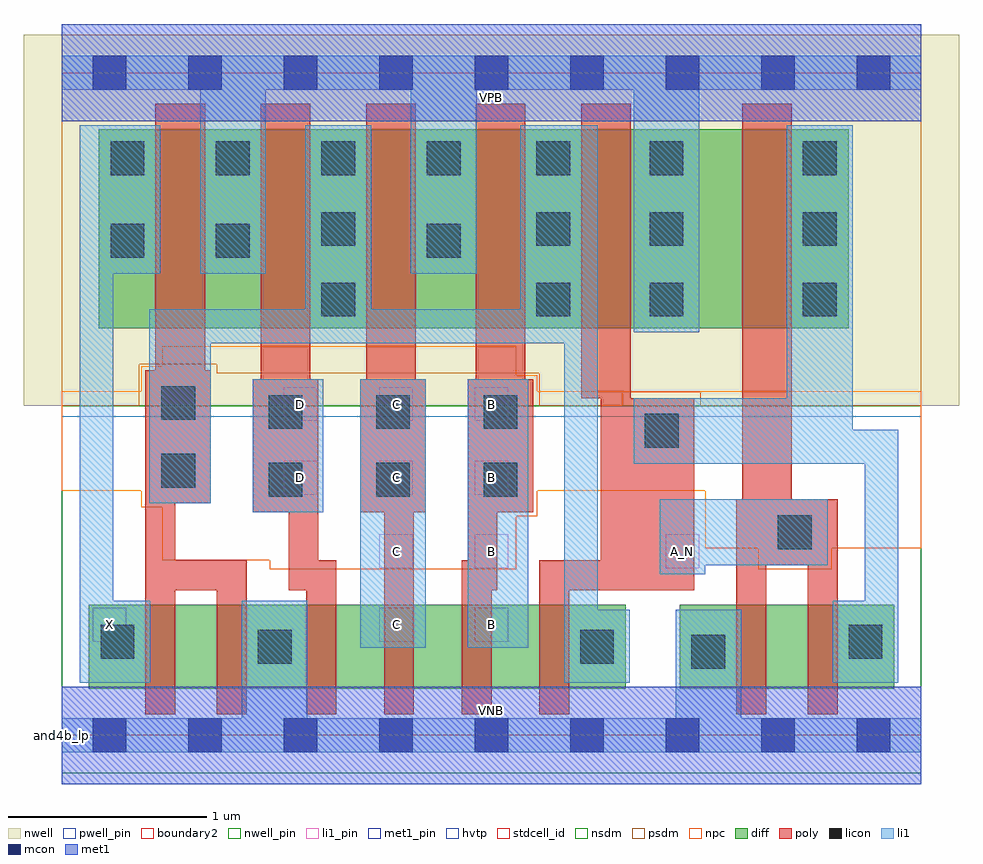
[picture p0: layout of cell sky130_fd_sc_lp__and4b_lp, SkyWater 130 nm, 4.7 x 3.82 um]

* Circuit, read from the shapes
.subckt sky130_fd_sc_lp__and4b_lp A_N B C D VGND VNB VPB VPWR X
XM1 n1 n2 X VNB sky130_fd_pr__nfet_01v8 w=0.42 l=0.15
XM2 VGND n2 n1 VNB sky130_fd_pr__nfet_01v8 w=0.42 l=0.15
XM3 n3 D VGND VNB sky130_fd_pr__nfet_01v8 w=0.42 l=0.15
XM4 n4 C n3 VNB sky130_fd_pr__nfet_01v8 w=0.42 l=0.15
XM5 n5 B n4 VNB sky130_fd_pr__nfet_01v8 w=0.42 l=0.15
XM6 n2 n6 n5 VNB sky130_fd_pr__nfet_01v8 w=0.42 l=0.15
XM7 n7 A_N VGND VNB sky130_fd_pr__nfet_01v8 w=0.42 l=0.15
XM8 n6 A_N n7 VNB sky130_fd_pr__nfet_01v8 w=0.42 l=0.15
XM9 VPWR n2 X VPB sky130_fd_pr__pfet_01v8_hvt w=1 l=0.25
XM10 n2 D VPWR VPB sky130_fd_pr__pfet_01v8_hvt w=1 l=0.25
XM11 VPWR C n2 VPB sky130_fd_pr__pfet_01v8_hvt w=1 l=0.25
XM12 n2 B VPWR VPB sky130_fd_pr__pfet_01v8_hvt w=1 l=0.25
XM13 VPWR n6 n2 VPB sky130_fd_pr__pfet_01v8_hvt w=1 l=0.25
XM14 n6 A_N VPWR VPB sky130_fd_pr__pfet_01v8_hvt w=1 l=0.25
.ends

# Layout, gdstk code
import gdstk
lib = gdstk.Library(unit=1e-6, precision=1e-09)
def R(c, l, rs):  # rectangles x0, y0, x1, y1
    for r in rs: c.add(gdstk.rectangle(r[:2], r[2:], *l))
def A(c, l, x, y, w, h, nx, ny, dx, dy):  # array of equal rectangles
    R(c, l, [(x+i*dx, y+j*dy, x+i*dx+w, y+j*dy+h) for i in range(nx) for j in range(ny)])
def P(c, l, *ps):  # polygons
    for p in ps: c.add(gdstk.Polygon(p, *l))
nwell_pin = (64, 16)
nwell = (64, 20)
diff = (65, 20)
poly = (66, 20)
licon = (66, 44)
li1_pin = (67, 16)
li1 = (67, 20)
mcon = (67, 44)
met1_pin = (68, 16)
met1 = (68, 20)
hvtp = (78, 44)
stdcell_id = (81, 4)
nsdm = (93, 44)
psdm = (94, 20)
npc = (95, 20)
pwell_pin = (122, 16)
boundary2 = (236, 0)

sky130_fd_sc_lp__and4b_l = lib.new_cell('sky130_fd_sc_lp__and4b_lp')
R(sky130_fd_sc_lp__and4b_l, nwell_pin, [(0,3.085,4.32,3.33)])
R(sky130_fd_sc_lp__and4b_l, nwell, [(-0.19,1.655,4.51,3.52)])
R(sky130_fd_sc_lp__and4b_l, diff, [(0.135,0.235,2.835,0.655), (3.105,0.235,4.185,0.655), (0.185,2.045,3.955,3.045)])
P(sky130_fd_sc_lp__and4b_l, poly, [(0.93,0.88),(0.57,0.88),(0.57,1.165),(0.75,1.165),(0.75,1.835),(0.72,1.835),(0.72,3.175),(0.47,3.175),(0.47,1.835),(0.42,1.835),(0.42,0.105),(0.57,0.105),(0.57,0.73),(0.78,0.73),(0.78,0.105),(0.93,0.105)],
  [(1.38,0.88),(1.29,0.88),(1.29,1.79),(1.25,1.79),(1.25,3.175),(1,3.175),(1,1.79),(0.96,1.79),(0.96,1.12),(1.14,1.12),(1.14,0.73),(1.23,0.73),(1.23,0.105),(1.38,0.105)],
  [(1.83,1.79),(1.78,1.79),(1.78,3.175),(1.53,3.175),(1.53,1.79),(1.5,1.79),(1.5,1.12),(1.62,1.12),(1.62,0.105),(1.77,0.105),(1.77,1.12),(1.83,1.12)],
  [(2.37,1.79),(2.33,1.79),(2.33,3.175),(2.08,3.175),(2.08,1.79),(2.04,1.79),(2.04,0.88),(2.01,0.88),(2.01,0.105),(2.16,0.105),(2.16,0.73),(2.19,0.73),(2.19,1.12),(2.37,1.12)],
  [(3.18,1.695),(2.86,1.695),(2.86,3.175),(2.61,3.175),(2.61,1.695),(2.71,1.695),(2.71,0.88),(2.4,0.88),(2.4,0.105),(2.55,0.105),(2.55,0.73),(3.18,0.73)],
  [(3.9,1.185),(3.67,1.185),(3.67,3.175),(3.42,3.175),(3.42,1.185),(3.39,1.185),(3.39,0.105),(3.54,0.105),(3.54,0.855),(3.75,0.855),(3.75,0.105),(3.9,0.105)])
A(sky130_fd_sc_lp__and4b_l, licon, 1.04, 1.2, 0.17, 0.17, 3, 2, 0.54, 0.34)
A(sky130_fd_sc_lp__and4b_l, licon, 2.385, 2.105, 0.17, 0.17, 1, 3, 0, 0.355)
A(sky130_fd_sc_lp__and4b_l, licon, 2.955, 2.105, 0.17, 0.17, 1, 3, 0, 0.355)
A(sky130_fd_sc_lp__and4b_l, licon, 3.725, 2.105, 0.17, 0.17, 1, 3, 0, 0.355)
A(sky130_fd_sc_lp__and4b_l, licon, 0.245, 2.815, 0.17, 0.17, 4, 1, 0.53, 0)
R(sky130_fd_sc_lp__and4b_l, licon, [(3.165,0.335,3.335,0.505), (0.985,0.36,1.155,0.53), (2.605,0.36,2.775,0.53), (0.195,0.385,0.365,0.555), (3.955,0.385,4.125,0.555), (3.6,0.935,3.77,1.105), (0.5,1.245,0.67,1.415), (2.93,1.445,3.1,1.615), (0.5,1.585,0.67,1.755), (1.305,2.105,1.475,2.275), (0.245,2.4,0.415,2.57), (0.775,2.4,0.945,2.57), (1.835,2.4,2.005,2.57), (1.305,2.46,1.475,2.63)])
A(sky130_fd_sc_lp__and4b_l, li1_pin, 1.115, 1.21, 0.17, 0.17, 3, 2, 0.48, 0.37)
R(sky130_fd_sc_lp__and4b_l, li1_pin, [(0.155,0.47,0.325,0.64), (1.595,0.47,1.765,0.64), (2.075,0.47,2.245,0.64), (1.595,0.84,1.765,1.01), (2.075,0.84,2.245,1.01), (3.035,0.84,3.205,1.01)])
R(sky130_fd_sc_lp__and4b_l, li1, [(1.5,0.44,1.83,1.79), (2.04,0.44,2.345,1.79), (0.96,1.12,1.315,1.79)])
P(sky130_fd_sc_lp__and4b_l, li1, [(2.875,2.025),(2.875,3.245),(2.085,3.245),(2.085,2.32),(1.755,2.32),(1.755,3.245),(1.025,3.245),(1.025,2.32),(0.695,2.32),(0.695,3.245),(0,3.245),(0,3.415),(4.32,3.415),(4.32,3.245),(3.205,3.245),(3.205,2.025)],
  [(0.905,0.085),(0.905,0.675),(1.235,0.675),(1.235,0.085),(3.085,0.085),(3.085,0.63),(3.415,0.63),(3.415,0.085),(4.32,0.085),(4.32,-0.085),(0,-0.085),(0,0.085)],
  [(0.44,2.14),(1.225,2.14),(1.225,3.065),(1.555,3.065),(1.555,2.14),(2.305,2.14),(2.305,3.065),(2.695,3.065),(2.695,0.63),(2.855,0.63),(2.855,0.265),(2.525,0.265),(2.525,1.97),(0.75,1.97),(0.75,1.165),(0.44,1.165)],
  [(3.975,1.535),(4.205,1.535),(4.205,0.265),(3.875,0.265),(3.875,0.675),(4.035,0.675),(4.035,1.365),(2.875,1.365),(2.875,1.695),(3.645,1.695),(3.645,3.065),(3.975,3.065)],
  [(0.26,2.32),(0.26,0.675),(0.445,0.675),(0.445,0.265),(0.09,0.265),(0.09,3.065),(0.495,3.065),(0.495,2.32)],
  [(3.005,1.185),(3.85,1.185),(3.85,0.855),(3.235,0.855),(3.235,0.81),(3.005,0.81)])
A(sky130_fd_sc_lp__and4b_l, mcon, 0.155, -0.085, 0.17, 0.17, 9, 2, 0.48, 3.33)
R(sky130_fd_sc_lp__and4b_l, met1_pin, [(0,0,4.32,0.245), (0,3.085,4.32,3.33)])
R(sky130_fd_sc_lp__and4b_l, met1, [(0,-0.245,4.32,0.245), (0,3.085,4.32,3.575)])
R(sky130_fd_sc_lp__and4b_l, hvtp, [(0,1.6,4.32,3.33)])
R(sky130_fd_sc_lp__and4b_l, stdcell_id, [(0,0,4.32,3.33)])
R(sky130_fd_sc_lp__and4b_l, nsdm, [(0,-0.19,4.32,1.655)])
P(sky130_fd_sc_lp__and4b_l, psdm, [(4.32,3.52),(0,3.52),(0,1.655),(0.39,1.655),(0.39,1.865),(0.78,1.865),(0.78,1.82),(2.4,1.82),(2.4,1.655),(2.82,1.655),(2.82,1.725),(3.21,1.725),(3.21,1.655),(4.32,1.655)])
P(sky130_fd_sc_lp__and4b_l, npc, [(4.32,1.73),(2.39,1.73),(2.39,1.81),(2.285,1.81),(2.285,1.955),(0.505,1.955),(0.505,1.855),(0.4,1.855),(0.4,1.73),(0,1.73),(0,1.23),(0.4,1.23),(0.4,1.145),(0.505,1.145),(0.505,0.88),(1.045,0.88),(1.045,0.835),(2.285,0.835),(2.285,1.1),(2.39,1.1),(2.39,1.23),(3.235,1.23),(3.235,0.94),(3.5,0.94),(3.5,0.835),(3.87,0.835),(3.87,0.94),(4.32,0.94)])
R(sky130_fd_sc_lp__and4b_l, pwell_pin, [(0,0,4.32,0.245)])
R(sky130_fd_sc_lp__and4b_l, boundary2, [(0,0,4.32,3.33)])
sky130_fd_sc_lp__and4b_l.add(gdstk.Label('VNB', (2.16,0.123), layer=64, texttype=59))
sky130_fd_sc_lp__and4b_l.add(gdstk.Label('VPB', (2.16,3.208), layer=64, texttype=5))
sky130_fd_sc_lp__and4b_l.add(gdstk.Label('and4b_lp', (0,0), layer=83, texttype=44))
sky130_fd_sc_lp__and4b_l.add(gdstk.Label('VPWR', (2.16,3.208), layer=68, texttype=5))
sky130_fd_sc_lp__and4b_l.add(gdstk.Label('VGND', (2.16,0.123), layer=68, texttype=5))
sky130_fd_sc_lp__and4b_l.add(gdstk.Label('D', (1.2,1.295), layer=67, texttype=5))
sky130_fd_sc_lp__and4b_l.add(gdstk.Label('D', (1.2,1.665), layer=67, texttype=5))
sky130_fd_sc_lp__and4b_l.add(gdstk.Label('B', (2.16,0.555), layer=67, texttype=5))
sky130_fd_sc_lp__and4b_l.add(gdstk.Label('B', (2.16,0.925), layer=67, texttype=5))
sky130_fd_sc_lp__and4b_l.add(gdstk.Label('B', (2.16,1.295), layer=67, texttype=5))
sky130_fd_sc_lp__and4b_l.add(gdstk.Label('B', (2.16,1.665), layer=67, texttype=5))
sky130_fd_sc_lp__and4b_l.add(gdstk.Label('X', (0.24,0.555), layer=67, texttype=5))
sky130_fd_sc_lp__and4b_l.add(gdstk.Label('A_N', (3.12,0.925), layer=67, texttype=5))
sky130_fd_sc_lp__and4b_l.add(gdstk.Label('C', (1.68,0.555), layer=67, texttype=5))
sky130_fd_sc_lp__and4b_l.add(gdstk.Label('C', (1.68,0.925), layer=67, texttype=5))
sky130_fd_sc_lp__and4b_l.add(gdstk.Label('C', (1.68,1.295), layer=67, texttype=5))
sky130_fd_sc_lp__and4b_l.add(gdstk.Label('C', (1.68,1.665), layer=67, texttype=5))

lib.write_gds('sky130_fd_sc_lp__and4b_lp.gds')
